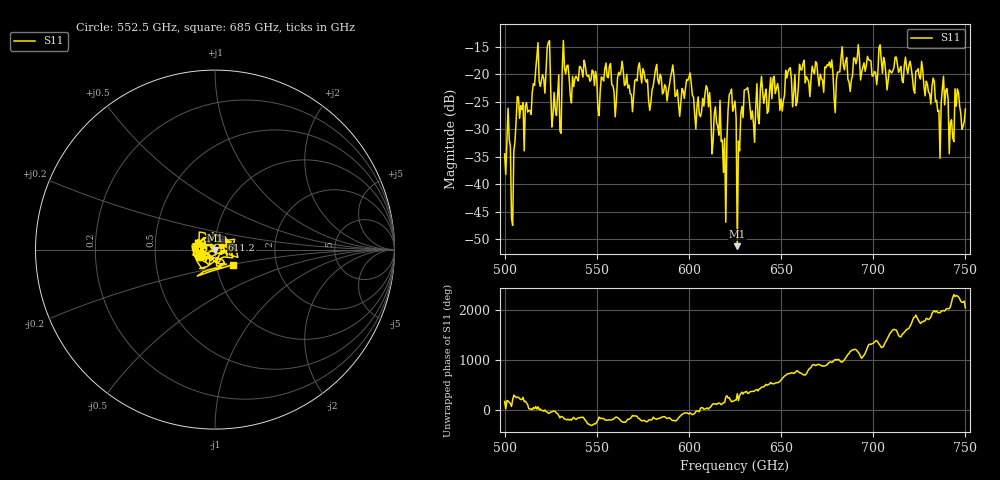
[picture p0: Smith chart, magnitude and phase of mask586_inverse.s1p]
!Created with skrf (http://scikit-rf.org).
# GHz S MA R 50.0
!freq magS11 angS11
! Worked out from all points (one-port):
!   401 points, 500 GHz to 750 GHz, reference 50 ohm
!   lowest |S11| = -51.2 dB at 626.2 GHz (marker M1), VSWR 1.01, Z = 50.2 - j0.149 ohm
!   |S11| at or under -10 dB: start of sweep to end of sweep
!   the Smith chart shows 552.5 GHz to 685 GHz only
!   S11 on the Smith chart (normalised r, x): 552.5 GHz: 0.84, -0.06; 611.2 GHz: 1.07, +0.12; 685 GHz: 1.21, -0.21
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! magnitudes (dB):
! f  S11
! 500 GHz  -34.5
! 504.4 GHz  -47.4
! 507.5 GHz  -24.2
! 511.9 GHz  -25.1
! 516.9 GHz  -19.1
! 523.8 GHz  -14.2
! 526.9 GHz  -23.3
! 531.2 GHz  -19.3
! 533.1 GHz  -19.9
! 552.5 GHz  -20.5
! 562.5 GHz  -20.2
! 593.8 GHz  -22.8
! 611.2 GHz  -23.3
! 618.8 GHz  -37.8
! 622.5 GHz  -23.4
! 625 GHz  -24.9
! 626.2 GHz  -51.2
! 631.2 GHz  -22.7
! 635 GHz  -28.8
! 656.2 GHz  -25.9
! 685 GHz  -17.6
! 687.5 GHz  -23.1
! 718.8 GHz  -19.9
! 735 GHz  -26.8
! 738.8 GHz  -25.6
! 742.5 GHz  -28.3
! 745.6 GHz  -22.7
! 750 GHz  -26.3
